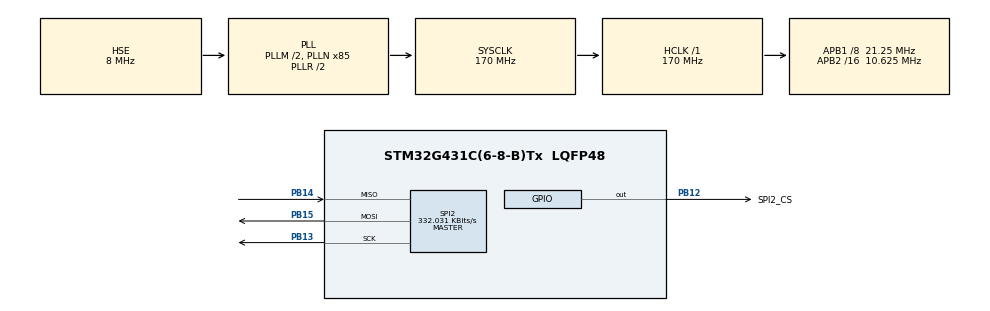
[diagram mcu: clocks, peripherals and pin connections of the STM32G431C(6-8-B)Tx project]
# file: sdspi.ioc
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Mcu.Family=STM32G4
Mcu.Name=STM32G431C(6-8-B)Tx
Mcu.Package=LQFP48
NVIC.PriorityGroup=NVIC_PRIORITYGROUP_4
PA13.Mode=Serial_Wire
PA13.Signal=SYS_JTMS-SWDIO
PA14.Mode=Serial_Wire
PA14.Signal=SYS_JTCK-SWCLK
PB12.GPIO_Label=SPI2_CS
PB12.Signal=GPIO_Output
PB13.Mode=Full_Duplex_Master
PB13.Signal=SPI2_SCK
PB14.Mode=Full_Duplex_Master
PB14.Signal=SPI2_MISO
PB15.Mode=Full_Duplex_Master
PB15.Signal=SPI2_MOSI
PC14-OSC32_IN.Mode=LSE-External-Oscillator
PC14-OSC32_IN.Signal=RCC_OSC32_IN
PC15-OSC32_OUT.Mode=LSE-External-Oscillator
PC15-OSC32_OUT.Signal=RCC_OSC32_OUT
PF0-OSC_IN.Mode=HSE-External-Oscillator
PF0-OSC_IN.Signal=RCC_OSC_IN
PF1-OSC_OUT.Mode=HSE-External-Oscillator
PF1-OSC_OUT.Signal=RCC_OSC_OUT
ProjectManager.HeapSize=0x800
ProjectManager.StackSize=0x1000
ProjectManager.TargetToolchain=Makefile
RCC.ADC12Freq_Value=170000000
RCC.AHBFreq_Value=170000000
RCC.APB1CLKDivider=RCC_HCLK_DIV8
RCC.APB1Freq_Value=21250000
RCC.APB1TimFreq_Value=42500000
RCC.APB2CLKDivider=RCC_HCLK_DIV16
RCC.APB2Freq_Value=10625000
RCC.APB2TimFreq_Value=21250000
RCC.CortexFreq_Value=170000000
RCC.EXTERNAL_CLOCK_VALUE=12288000
RCC.HCLKFreq_Value=170000000
RCC.HSE_VALUE=8000000
RCC.HSI48_VALUE=48000000
RCC.HSI_VALUE=16000000
RCC.PLLM=RCC_PLLM_DIV2
RCC.PLLN=85
RCC.PLLSourceVirtual=RCC_PLLSOURCE_HSE
RCC.SYSCLKFreq_VALUE=170000000
RCC.SYSCLKSource=RCC_SYSCLKSOURCE_PLLCLK
RCC.USBFreq_Value=170000000
RCC.VCOOutputFreq_Value=340000000
SPI2.BaudRatePrescaler=SPI_BAUDRATEPRESCALER_64
SPI2.CLKPhase=SPI_PHASE_2EDGE
SPI2.CLKPolarity=SPI_POLARITY_HIGH
SPI2.CRCCalculation=SPI_CRCCALCULATION_DISABLE
SPI2.CalculateBaudRate=332.031 KBits/s
SPI2.DataSize=SPI_DATASIZE_8BIT
SPI2.Direction=SPI_DIRECTION_2LINES
SPI2.Mode=SPI_MODE_MASTER
SPI2.VirtualType=VM_MASTER
VP_SYS_VS_DBSignals.Mode=DisableDeadBatterySignals
board=custom

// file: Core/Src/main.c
/* USER CODE BEGIN Header */
/**
 ******************************************************************************
 * @file           : main.c
 * @brief          : Main program body
 ******************************************************************************
 * @attention
 *
 * Copyright (c) 2023 STMicroelectronics.
 * All rights reserved.
 *
 * This software is licensed under terms that can be found in the LICENSE file
 * in the root directory of this software component.
 * If no LICENSE file comes with this software, it is provided AS-IS.
 *
 ******************************************************************************
 */
/* USER CODE END Header */
#include "main.h"

/* USER CODE BEGIN Includes */
#include "sd.h"
/* USER CODE END Includes */

SPI_HandleTypeDef hspi2;

void SystemClock_Config(void);
static void MX_GPIO_Init(void);
static void MX_SPI2_Init(void);
/* USER CODE BEGIN PFP */
Res_Status res;
/* USER CODE END PFP */

int main(void)
{
  /* USER CODE BEGIN 1 */
  static UINT8 xmitDatas[512];
  static UINT8 rcvDatas[512];

  /* USER CODE END 1 */

  /* MCU Configuration--------------------------------------------------------*/

  /* Reset of all peripherals, Initializes the Flash interface and the Systick. */
  HAL_Init();

  /* Configure the system clock */
  SystemClock_Config();

  /* Initialize all configured peripherals */
  MX_GPIO_Init();
  MX_SPI2_Init();
  /* USER CODE BEGIN 2 */
  res = SD_Init();
  if (res != SD_NO_ERROR)
  {
    return 0;
  }

  /*SD initialization test*/
  if ((res = SD_getCSDRegister()) != SD_NO_ERROR)
    return 0; // CMD9 test

  /*Start writing test */
  for (int i = 0; i < 512; i++)
  {
    xmitDatas[i] = i;
  }

  if ((res = SD_writeSingleBlock(xmitDatas, 0, 512)) != SD_DATA_OK)
    return 0;

  /*Start reading test*/
  if ((res = SD_readSingleBlock(rcvDatas, 0, 512)) != SD_NO_ERROR)
    return 0;

  /*End reading test*/
  /* USER CODE END 2 */

  /* Infinite loop */
  while (1)
  {

  }
}

void SystemClock_Config(void)
{
  RCC_OscInitTypeDef RCC_OscInitStruct = {0};
  RCC_ClkInitTypeDef RCC_ClkInitStruct = {0};

  /** Configure the main internal regulator output voltage
  */
  HAL_PWREx_ControlVoltageScaling(PWR_REGULATOR_VOLTAGE_SCALE1_BOOST);

  /** Initializes the RCC Oscillators according to the specified parameters
  * in the RCC_OscInitTypeDef structure.
  */
  RCC_OscInitStruct.OscillatorType = RCC_OSCILLATORTYPE_HSE;
  RCC_OscInitStruct.HSEState = RCC_HSE_ON;
  RCC_OscInitStruct.PLL.PLLState = RCC_PLL_ON;
  RCC_OscInitStruct.PLL.PLLSource = RCC_PLLSOURCE_HSE;
  RCC_OscInitStruct.PLL.PLLM = RCC_PLLM_DIV2;
  RCC_OscInitStruct.PLL.PLLN = 85;
  RCC_OscInitStruct.PLL.PLLP = RCC_PLLP_DIV2;
  RCC_OscInitStruct.PLL.PLLQ = RCC_PLLQ_DIV2;
  RCC_OscInitStruct.PLL.PLLR = RCC_PLLR_DIV2;
  if (HAL_RCC_OscConfig(&RCC_OscInitStruct) != HAL_OK)
  {
    Error_Handler();
  }

  /** Initializes the CPU, AHB and APB buses clocks
  */
  RCC_ClkInitStruct.ClockType = RCC_CLOCKTYPE_HCLK|RCC_CLOCKTYPE_SYSCLK
                              |RCC_CLOCKTYPE_PCLK1|RCC_CLOCKTYPE_PCLK2;
  RCC_ClkInitStruct.SYSCLKSource = RCC_SYSCLKSOURCE_PLLCLK;
  RCC_ClkInitStruct.AHBCLKDivider = RCC_SYSCLK_DIV1;
  RCC_ClkInitStruct.APB1CLKDivider = RCC_HCLK_DIV8;
  RCC_ClkInitStruct.APB2CLKDivider = RCC_HCLK_DIV16;

  if (HAL_RCC_ClockConfig(&RCC_ClkInitStruct, FLASH_LATENCY_4) != HAL_OK)
  {
    Error_Handler();
  }
}

static void MX_SPI2_Init(void)
{

  /* SPI2 parameter configuration*/
  hspi2.Instance = SPI2;
  hspi2.Init.Mode = SPI_MODE_MASTER;
  hspi2.Init.Direction = SPI_DIRECTION_2LINES;
  hspi2.Init.DataSize = SPI_DATASIZE_8BIT;
  hspi2.Init.CLKPolarity = SPI_POLARITY_HIGH;
  hspi2.Init.CLKPhase = SPI_PHASE_2EDGE;
  hspi2.Init.NSS = SPI_NSS_SOFT;
  hspi2.Init.BaudRatePrescaler = SPI_BAUDRATEPRESCALER_64;
  hspi2.Init.FirstBit = SPI_FIRSTBIT_MSB;
  hspi2.Init.TIMode = SPI_TIMODE_DISABLE;
  hspi2.Init.CRCCalculation = SPI_CRCCALCULATION_DISABLE;
  hspi2.Init.CRCPolynomial = 7;
  hspi2.Init.CRCLength = SPI_CRC_LENGTH_DATASIZE;
  hspi2.Init.NSSPMode = SPI_NSS_PULSE_DISABLE;
  if (HAL_SPI_Init(&hspi2) != HAL_OK)
  {
    Error_Handler();
  }

}

static void MX_GPIO_Init(void)
{
  GPIO_InitTypeDef GPIO_InitStruct = {0};

  /* GPIO Ports Clock Enable */
  __HAL_RCC_GPIOC_CLK_ENABLE();
  __HAL_RCC_GPIOF_CLK_ENABLE();
  __HAL_RCC_GPIOB_CLK_ENABLE();
  __HAL_RCC_GPIOA_CLK_ENABLE();

  /*Configure GPIO pin Output Level */
  HAL_GPIO_WritePin(SPI2_CS_GPIO_Port, SPI2_CS_Pin, GPIO_PIN_RESET);

  /*Configure GPIO pin : SPI2_CS_Pin */
  GPIO_InitStruct.Pin = SPI2_CS_Pin;
  GPIO_InitStruct.Mode = GPIO_MODE_OUTPUT_PP;
  GPIO_InitStruct.Pull = GPIO_NOPULL;
  GPIO_InitStruct.Speed = GPIO_SPEED_FREQ_LOW;
  HAL_GPIO_Init(SPI2_CS_GPIO_Port, &GPIO_InitStruct);

}

void Error_Handler(void)
{
  __disable_irq();
  while (1)
  {
  }
}
